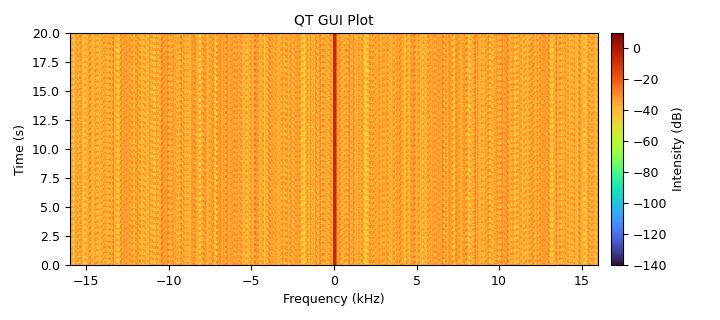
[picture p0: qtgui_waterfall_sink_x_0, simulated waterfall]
<?xml version='1.0' encoding='utf-8'?>
<flow_graph>
<block>
<key>options</key>
<param><key>id</key><value>top_block</value></param>
<param><key>generate_options</key><value>qt_gui</value></param>
<param><key>category</key><value>Custom</value></param>
</block>
<block>
<key>variable</key>
<param><key>id</key><value>samp_rate</value></param>
<param><key>value</key><value>32000</value></param>
</block>
<block>
<key>qtgui_waterfall_sink_x</key>
<param><key>id</key><value>qtgui_waterfall_sink_x_0</value></param>
<param><key>type</key><value>float</value></param>
<param><key>name</key><value>QT GUI Plot</value></param>
<param><key>fftsize</key><value>1024</value></param>
<param><key>wintype</key><value>firdes.WIN_BLACKMAN_hARRIS</value></param>
<param><key>fc</key><value>0</value></param>
<param><key>bw</key><value>samp_rate</value></param>
</block>
<block>
<key>analog_random_source_x</key>
<param><key>id</key><value>analog_random_source_x_0</value></param>
<param><key>type</key><value>int</value></param>
<param><key>min</key><value>0</value></param>
<param><key>max</key><value>4</value></param>
<param><key>num_samps</key><value>1000</value></param>
<param><key>repeat</key><value>True</value></param>
</block>
<block>
<key>blocks_throttle</key>
<param><key>id</key><value>blocks_throttle_0</value></param>
<param><key>type</key><value>float</value></param>
<param><key>samples_per_second</key><value>samp_rate</value></param>
</block>
<block>
<key>blocks_int_to_float</key>
<param><key>id</key><value>blocks_int_to_float_0</value></param>
<param><key>scale</key><value>1</value></param>
</block>
<connection><source_block_id>blocks_throttle_0</source_block_id><sink_block_id>qtgui_waterfall_sink_x_0</sink_block_id><source_key>0</source_key><sink_key>0</sink_key></connection>
<connection><source_block_id>analog_random_source_x_0</source_block_id><sink_block_id>blocks_int_to_float_0</sink_block_id><source_key>0</source_key><sink_key>0</sink_key></connection>
<connection><source_block_id>blocks_int_to_float_0</source_block_id><sink_block_id>blocks_throttle_0</sink_block_id><source_key>0</source_key><sink_key>0</sink_key></connection>
</flow_graph>
